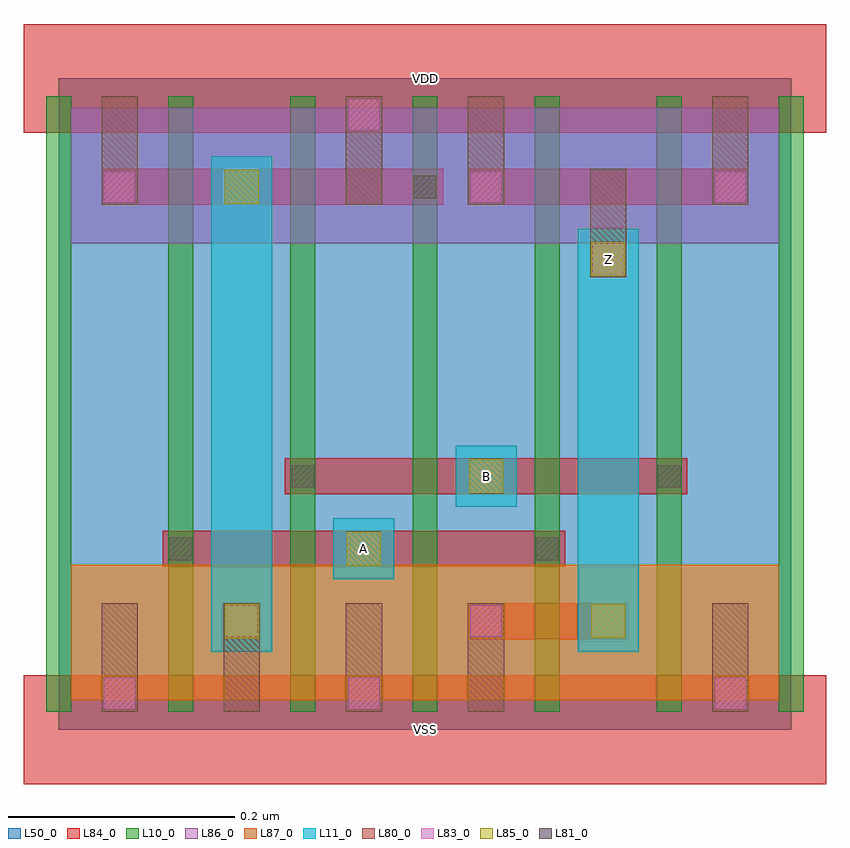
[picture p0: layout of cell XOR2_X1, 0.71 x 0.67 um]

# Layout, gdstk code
import gdstk
lib = gdstk.Library(unit=1e-6, precision=1e-09)
def R(c, l, rs):  # rectangles x0, y0, x1, y1
    for r in rs: c.add(gdstk.rectangle(r[:2], r[2:], *l))
def A(c, l, x, y, w, h, nx, ny, dx, dy):  # array of equal rectangles
    R(c, l, [(x+i*dx, y+j*dy, x+i*dx+w, y+j*dy+h) for i in range(nx) for j in range(ny)])
L10_0 = (10, 0)
L11_0 = (11, 0)
L50_0 = (50, 0)
L80_0 = (80, 0)
L81_0 = (81, 0)
L83_0 = (83, 0)
L84_0 = (84, 0)
L85_0 = (85, 0)
L86_0 = (86, 0)
L87_0 = (87, 0)

xor2_x1 = lib.new_cell('XOR2_X1')
A(xor2_x1, L10_0, -0.011, 0.016, 0.022, 0.544, 7, 1, 0.108, 0)
R(xor2_x1, L11_0, [(0.135,0.069,0.189,0.507), (0.459,0.069,0.513,0.443), (0.243,0.133,0.297,0.187), (0.351,0.197,0.405,0.251)])
R(xor2_x1, L50_0, [(0,0,0.648,0.576)])
A(xor2_x1, L80_0, 0.038, 0.016, 0.032, 0.096, 4, 1, 0.108, 0)
R(xor2_x1, L80_0, [(0.578,0.016,0.61,0.112), (0.47,0.4,0.502,0.496), (0.038,0.464,0.07,0.56), (0.254,0.464,0.286,0.56), (0.362,0.464,0.394,0.56), (0.578,0.464,0.61,0.56)])
R(xor2_x1, L81_0, [(0.098,0.15,0.118,0.17), (0.422,0.15,0.442,0.17), (0.206,0.214,0.226,0.234), (0.53,0.214,0.55,0.234), (0.314,0.47,0.334,0.49)])
R(xor2_x1, L83_0, [(0.04,0.018,0.068,0.046), (0.256,0.018,0.284,0.046), (0.58,0.018,0.608,0.046), (0.148,0.082,0.176,0.11), (0.364,0.082,0.392,0.11), (0.472,0.402,0.5,0.43), (0.04,0.466,0.068,0.494), (0.364,0.466,0.392,0.494), (0.58,0.466,0.608,0.494), (0.256,0.53,0.284,0.558)])
R(xor2_x1, L84_0, [(-0.031,-0.048,0.679,0.048), (0.146,0.08,0.178,0.112), (0.362,0.08,0.502,0.112), (0.092,0.144,0.448,0.176), (0.2,0.208,0.556,0.24), (0.47,0.4,0.502,0.432), (0.038,0.464,0.34,0.496), (0.362,0.464,0.61,0.496), (-0.031,0.528,0.679,0.624)])
R(xor2_x1, L85_0, [(0.147,0.081,0.177,0.111), (0.471,0.081,0.501,0.111), (0.255,0.145,0.285,0.175), (0.363,0.209,0.393,0.239), (0.471,0.401,0.501,0.431), (0.147,0.465,0.177,0.495)])
R(xor2_x1, L86_0, [(0.011,0.43,0.637,0.55)])
R(xor2_x1, L87_0, [(0.011,0.026,0.637,0.146)])
xor2_x1.add(gdstk.Label('VDD', (0.324,0.576), layer=88, texttype=0))
xor2_x1.add(gdstk.Label('VSS', (0.324,0), layer=88, texttype=0))
xor2_x1.add(gdstk.Label('Z', (0.486,0.416), layer=31, texttype=0))
xor2_x1.add(gdstk.Label('A', (0.27,0.16), layer=31, texttype=0))
xor2_x1.add(gdstk.Label('B', (0.378,0.224), layer=31, texttype=0))

lib.write_gds('XOR2_X1.gds')
